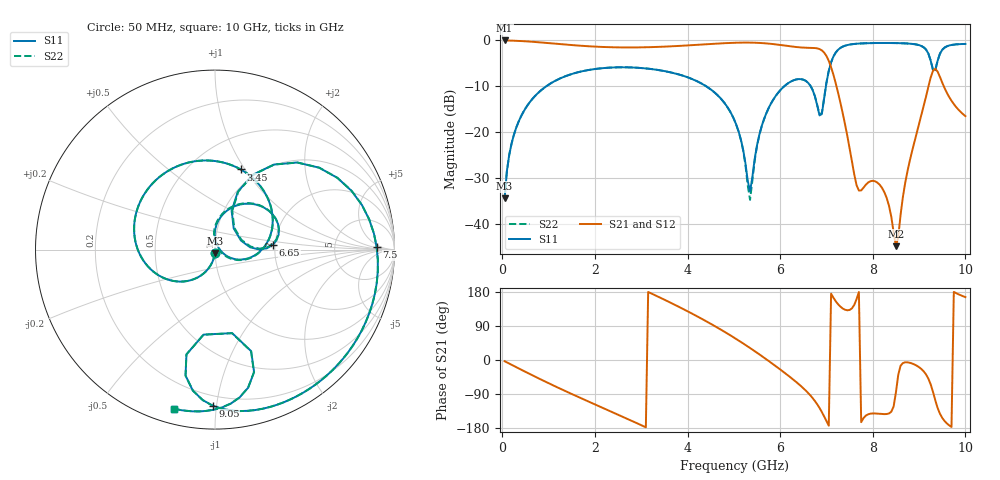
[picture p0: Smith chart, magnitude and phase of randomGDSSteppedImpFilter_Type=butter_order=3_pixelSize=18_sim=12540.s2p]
! freq	dB(S11)	phase(S11)	dB(S12)	phase(S12)
!  dB(S21)	phase(S21)	dB(S22)	phase(S22)
!S-par simulation data
#  GHz  S  DB  R 50
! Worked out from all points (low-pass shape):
!   200 points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, 50 MHz to 10 GHz, reference 50 ohm
!   highest |S21| = -0.01 dB at 50 MHz (marker M1); lowest = -44.8 dB at 8.5 GHz (marker M2)
!   |S21| within 3 dB of the highest: start of sweep to 6.974 GHz
!   lowest |S11| = -34.3 dB at 50 MHz (marker M3), VSWR 1.04, Z = 49.9 - j1.91 ohm
!   |S11| at or under -10 dB: start of sweep to 946.4 MHz; 4.406 GHz to 6.086 GHz (1.679 GHz wide, 32 % of centre); 6.66 GHz to 6.988 GHz (328.7 MHz wide, 4.82 % of centre)
!   |S22| runs from -34.7 to -0.6 dB; largest |S21 - S12| = 0
!   S11 on the Smith chart (normalised r, x): 50 MHz: 1.00, -0.04; 3.45 GHz: 0.84, +0.96; 6.65 GHz: 1.94, +0.12; 7.5 GHz: 19, +3; 9.05 GHz: 0.14, -0.98; 10 GHz: 0.07, -0.77
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0.05  -34.33 -92.8  -0.01 -3.2  -0.01 -3.2  -34.33 -92.8
0.2  -22.44 -102.8  -0.04 -12.6  -0.04 -12.6  -22.44 -102.8
0.5  -14.80 -121.8  -0.19 -31.3  -0.19 -31.3  -14.80 -121.8
1.75  -6.65 165.9  -1.20 -103.5  -1.20 -103.5  -6.66 165.9
3.4  -6.49 75.1  -1.40 165.1  -1.40 165.1  -6.49 75.0
3.45  -6.58 72.2  -1.38 162.2  -1.38 162.2  -6.58 72.1
4.4  -9.96 14.3  -0.84 102.5  -0.84 102.5  -9.96 13.9
5.05  -18.26 -25.6  -0.50 55.6  -0.50 55.6  -18.31 -27.4
5.35  -32.86 35.6  -0.47 31.7  -0.47 31.7  -34.69 36.6
5.8  -13.76 76.8  -0.74 -6.8  -0.74 -6.8  -13.78 78.2
6.65  -9.82 4.7  -1.62 -93.1  -1.62 -93.1  -9.80 5.6
6.7  -10.76 1.4  -1.63 -100.3  -1.63 -100.3  -10.73 2.4
6.85  -16.31 19.3  -1.88 -126.5  -1.88 -126.5  -16.09 20.3
7  -9.21 68.5  -3.40 -161.0  -3.40 -161.0  -9.15 68.1
7.2  -2.64 38.2  -9.32 155.1  -9.32 155.1  -2.63 38.1
7.5  -0.91 0.9  -23.48 132.0  -23.48 132.0  -0.91 0.9
7.7  -0.69 -15.5  -32.67 179.5  -32.67 179.5  -0.68 -15.4
8.35  -0.56 -53.4  -35.97 -141.0  -35.97 -141.0  -0.56 -53.4
8.5  -0.58 -60.8  -44.76 -85.6  -44.76 -85.6  -0.58 -60.8
9.05  -1.21 -90.8  -16.32 -23.9  -16.32 -23.9  -1.21 -90.8
9.35  -6.47 -78.4  -6.18 -106.3  -6.18 -106.3  -6.46 -78.5
10  -0.76 -104.4  -16.47 165.9  -16.47 165.9  -0.77 -104.5
